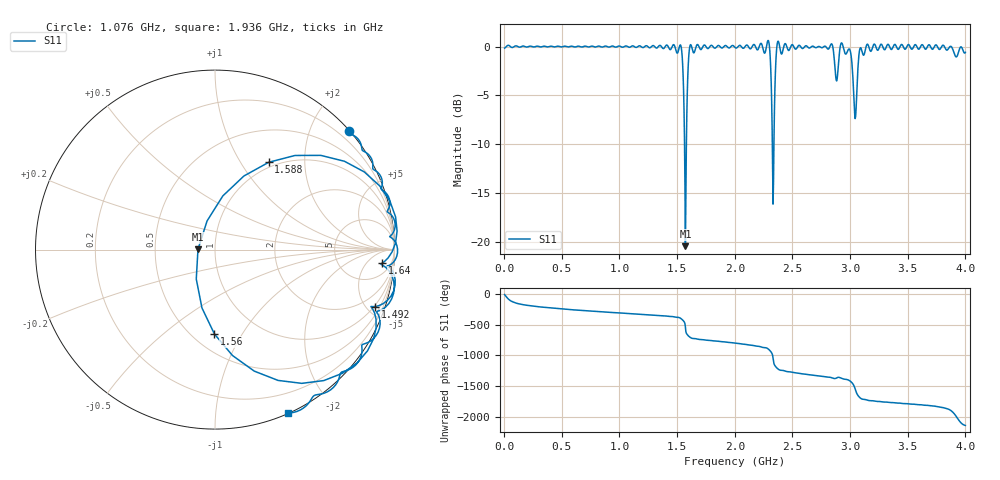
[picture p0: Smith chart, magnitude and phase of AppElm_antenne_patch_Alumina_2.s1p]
! TOUCHSTONE file generated by CST MICROWAVE STUDIO
! Date and time: Thu Jun  9 09:13:12 2022
! Project name: AppElm_antenne_patch_Alumina.cst
! Parameters = {L=30.5; W=41.8; e=0.035; h=1.6; lambda=0.190476; ls=90; w0=0.896; w1=0.373; ws=90; y0=14; y1=10}
! Header version: 2018
! Port assignment regex: !\s*Touchstone port\s*([0-9]+)\s*=\s*(CST MWS port|CST DS port)\s*([0-9]+|Zmin|Zmax)\s*\(\"(.*)\"\)(\s*mode\s*([0-9]+))?.*
! Touchstone port assignment:
! Touchstone port 1 = CST MWS port 1 ("")
# GHz S MA R 50
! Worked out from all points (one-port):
!   1000 points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, 4 MHz to 4 GHz, reference 50 ohm
!   lowest |S11| = -20.5 dB at 1.572 GHz (marker M1), VSWR 1.21, Z = 41.3 + j0.135 ohm
!   |S11| at or under -10 dB: 1.564 GHz to 1.58 GHz (16.09 MHz wide, 1.02 % of centre); 2.326 GHz to 2.34 GHz (13.98 MHz wide, 0.599 % of centre)
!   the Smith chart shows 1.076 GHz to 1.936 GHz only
!   S11 on the Smith chart (normalised r, x): 1.076 GHz: 0.02, +2.63; 1.492 GHz: 0.94, -5.63; 1.56 GHz: 0.63, -0.77; 1.588 GHz: 0.93, +1.34; 1.64 GHz: 12, -14; 1.936 GHz: 0.01, -1.54
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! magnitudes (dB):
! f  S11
! 4 MHz  -0.2
! 504 MHz  0.0
! 1.004 GHz  0.0
! 1.076 GHz  0.0
! 1.492 GHz  -0.5
! 1.504 GHz  -0.7
! 1.536 GHz  -0.1
! 1.56 GHz  -6.6
! 1.572 GHz  -20.5
! 1.588 GHz  -4.9
! 1.608 GHz  -0.1
! 1.64 GHz  -0.6
! 1.936 GHz  0.0
! 2.004 GHz  -0.1
! 2.288 GHz  0.6
! 2.332 GHz  -16.2
! 2.344 GHz  -6.6
! 2.364 GHz  -0.1
! 2.376 GHz  0.5
! 2.504 GHz  0.1
! 2.836 GHz  0.3
! 2.884 GHz  -3.5
! 2.928 GHz  0.4
! 3.004 GHz  -0.6
! 3.044 GHz  -7.4
! 3.096 GHz  -0.2
! 3.504 GHz  0.2
! 4 GHz  -0.6
